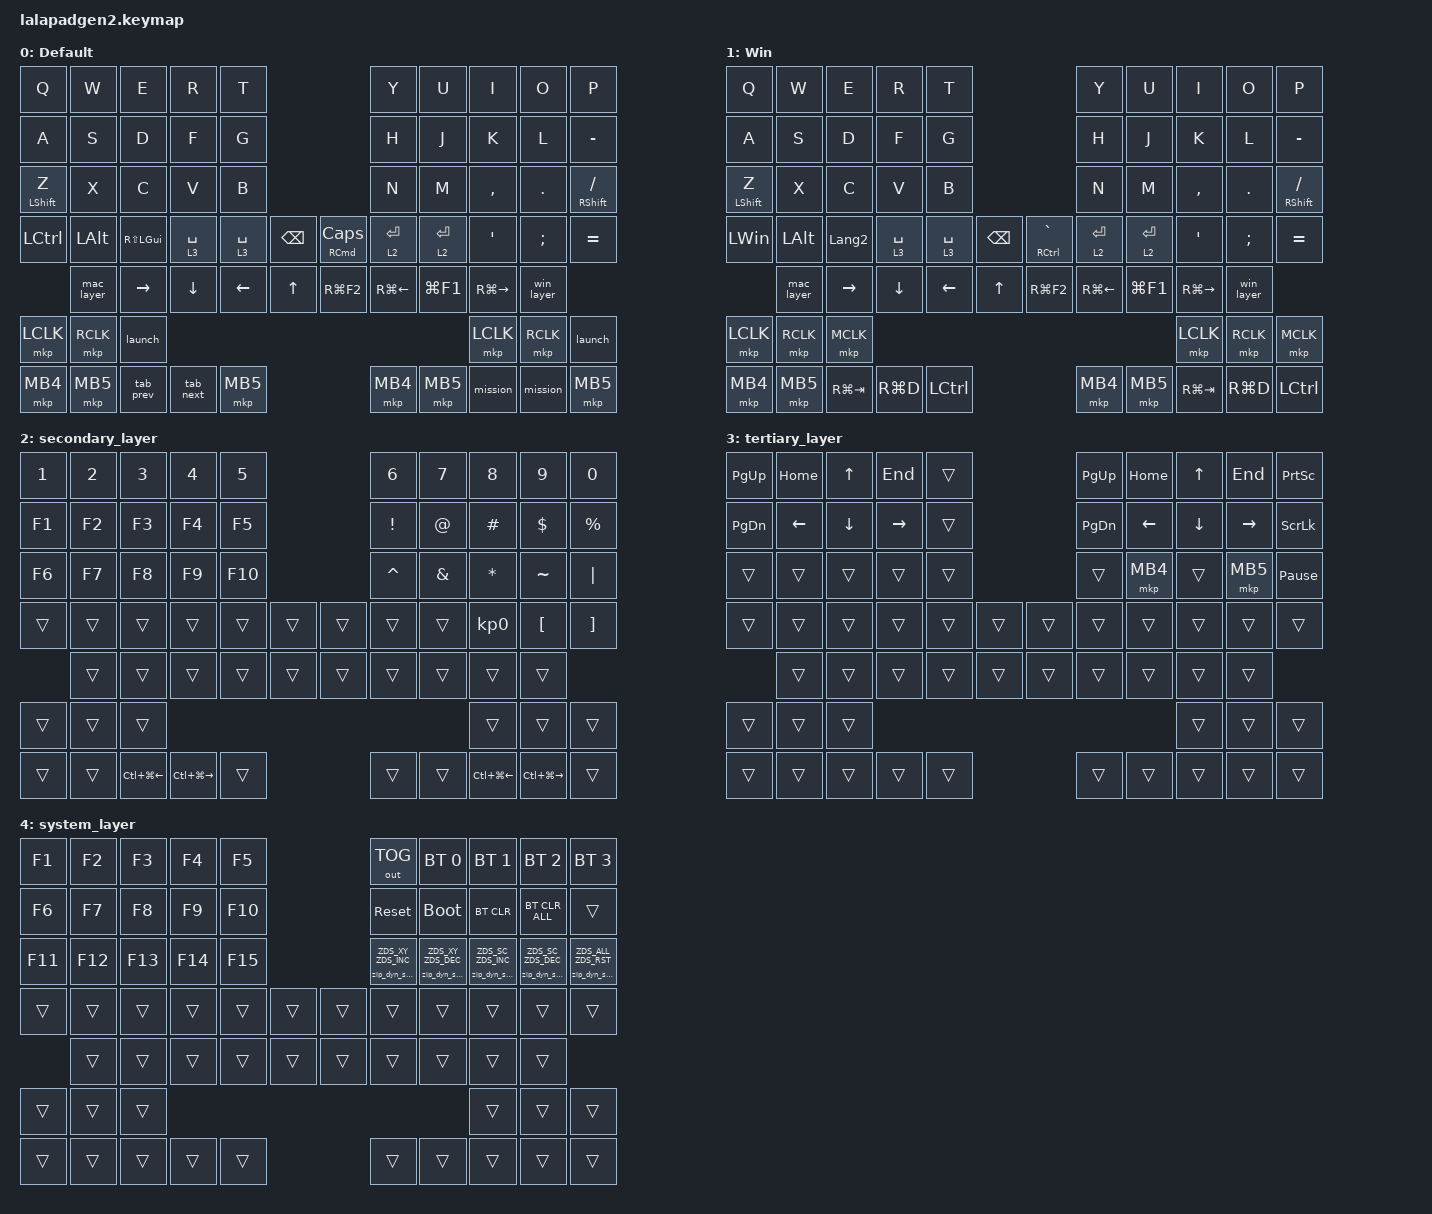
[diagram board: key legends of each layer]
#include <input/processors.dtsi>
#include <dt-bindings/zmk/zip_dynamic_scale.h>
#include <scroll-snap.dtsi>
#include <behaviors.dtsi>
#include <dt-bindings/zmk/bt.h>
#include <dt-bindings/zmk/keys.h>
#include <dt-bindings/zmk/outputs.h>
#include <dt-bindings/zmk/pointing.h>

#define DEFAULT_LAYER 0
#define SECONDARY_LAYER 1
#define TERTIARY_LAYER 2
#define SYSTEM_LAYER 3

&mt { quick-tap-ms = <200>; };

&lt { quick-tap-ms = <200>; };

/ {
    behaviors {
        zip_dyn_scale: zip_dyn_scale {
            compatible = "zmk,behavior-zip-dynamic-scale";
            #binding-cells = <2>;
        };

        zip_dyn_scale_set: zip_dyn_scale_set {
            compatible = "zmk,behavior-zip-dynamic-scale-set";
            #binding-cells = <2>;
        };

        mt2: mod_tap2 {
            compatible = "zmk,behavior-hold-tap";
            #binding-cells = <2>;
            flavor = "tap-preferred";
            tapping-term-ms = <200>;
            quick-tap-ms = <200>;
            require-prior-idle-ms = <125>;
            bindings = <&kp>, <&kp>;
        };

        tap_dance_layer_1and2: tap_dance_layer_1and2 {
            compatible = "zmk,behavior-tap-dance";
            label = "td_mo12";
            #binding-cells = <0>;
            bindings = <&mo 2>, <&mo 3>;
        };

        // ↓↓↓ 追加: behaviors ブロックに正しく配置 ↓↓↓

        lt_to_layer_0: lt_to_layer_0 {
            compatible = "zmk,behavior-hold-tap";
            label = "LAYER_TAP_TO_0";
            bindings = <&mo>, <&to_layer_0>;

            #binding-cells = <2>;
            tapping-term-ms = <200>;
        };

        scroll_up_down: behavior_sensor_rotate_mouse_wheel_up_down {
            compatible = "zmk,behavior-sensor-rotate";
            #sensor-binding-cells = <0>;
            bindings = <&msc SCRL_UP>, <&msc SCRL_DOWN>;

            tap-ms = <20>;
        };

        tog_on: toggle_layer_on_only {
            compatible = "zmk,behavior-toggle-layer";
            #binding-cells = <1>;
            display-name = "Toggle Layer On";
            toggle-mode = "on";
        };

        tog_off: toggle_layer_off_only {
            compatible = "zmk,behavior-toggle-layer";
            #binding-cells = <1>;
            display-name = "Toggle Layer Off";
            toggle-mode = "off";
        };

        // ↑↑↑ 追加ここまで ↑↑↑
    };

    combos {
        compatible = "zmk,combos";

        CONBO_ESC {
            bindings = <&kp ESCAPE>;
            key-positions = <0 1>;
        };

        COMBO_TAB {
            bindings = <&kp TAB>;
            key-positions = <10 11>;
        };

        left_p {
            bindings = <&kp LEFT_PARENTHESIS>;
            key-positions = <12 13>;
        };

        right_p {
            bindings = <&kp RIGHT_PARENTHESIS>;
            key-positions = <13 14>;
        };

        l_d {
            bindings = <&kp LA(LC(D))>;
            key-positions = <20 21>;
        };

        c_d {
            bindings = <&kp LA(LC(F))>;
            key-positions = <21 22>;
        };

        r_d {
            bindings = <&kp LA(LC(G))>;
            key-positions = <22 23>;
        };

        f_d {
            bindings = <&kp LA(LC(ENTER))>;
            key-positions = <30 31>;
        };

        cap_1 {
            bindings = <&kp LS(LG(NUMBER_4))>;
            key-positions = <40 41>;
        };

        cap_f {
            bindings = <&kp LS(LG(NUMBER_3))>;
            key-positions = <39 40>;
        };

        system {
            bindings = <&tog 4>;
            key-positions = <41 40 39>;
        };

        re_system {
            bindings = <&tog 0>;
            key-positions = <30 31 32>;
        };

        r_d2 {
            bindings = <&kp LA(LC(T))>;
            key-positions = <31 32>;
        };
    };

    macros {
        mission: mission {
            compatible = "zmk,behavior-macro";
            #binding-cells = <0>;
            bindings = <&kp LC(UP)>;
            label = "MISSION";
        };

        launch: launch {
            compatible = "zmk,behavior-macro";
            #binding-cells = <0>;
            bindings = <&kp RG(L)>;
            label = "LAUNCH";
        };

        tab_next: tab_next {
            compatible = "zmk,behavior-macro";
            #binding-cells = <0>;
            bindings = <&kp LC(TAB)>;
            label = "TAB_NEXT";
        };

        tab_prev: tab_prev {
            compatible = "zmk,behavior-macro";
            #binding-cells = <0>;
            bindings = <&kp LS(LC(TAB))>;
            label = "TAB_PREV";
        };

        win_layer: win_ly {
            compatible = "zmk,behavior-macro";
            #binding-cells = <0>;
            bindings = <&bt BT_SEL 1>, <&macro_wait_time 200>, <&to 1>;

            label = "WIN_LY";
        };

        mac_layer: mac_layer {
            compatible = "zmk,behavior-macro";
            #binding-cells = <0>;
            bindings = <&bt BT_SEL 0>, <&macro_wait_time 200>, <&to 0>;

            label = "MAC_LAYER";
        };

        // ↓↓↓ 追加: lt_to_layer_0 が参照する to_layer_0 の実体 ↓↓↓

        to_layer_0: to_layer_0 {
            compatible = "zmk,behavior-macro";
            #binding-cells = <0>;
            bindings = <&to 0>;
            label = "TO_LAYER_0";
        };

        kakko: kakko {
            compatible = "zmk,behavior-macro";
            #binding-cells = <0>;
            bindings = <&kp LEFT_PARENTHESIS &kp RIGHT_PARENTHESIS &kp LEFT>;
            label = "KAKKO";
        };

        daikakko: daikakko {
            compatible = "zmk,behavior-macro";
            #binding-cells = <0>;
            bindings = <&kp LEFT_BRACKET &kp RIGHT_BRACKET &kp LEFT>;
            label = "DAIKAKKO";
        };

        nami_kakko: nami_kakko {
            compatible = "zmk,behavior-macro";
            #binding-cells = <0>;
            bindings = <&kp LEFT_BRACE &kp RIGHT_BRACE &kp LEFT>;
            label = "NAMI_KAKKO";
        };

        // ↑↑↑ 追加ここまで ↑↑↑
    };

    keymap {
        compatible = "zmk,keymap";

        MAC_LAYER {
            display-name = "Default";
            bindings = <
&kp Q              &kp W       &kp E             &kp R        &kp T                                               &kp Y         &kp U        &kp I             &kp O       &kp P
&kp A              &kp S       &kp D             &kp F        &kp G                                               &kp H         &kp J        &kp K             &kp L       &kp MINUS
&mt2 LEFT_SHIFT Z  &kp X       &kp C             &kp V        &kp B                                               &kp N         &kp M        &kp COMMA         &kp PERIOD  &mt RIGHT_SHIFT SLASH
&kp LCTRL          &kp LALT    &kp RS(LEFT_GUI)  &lt 3 SPACE  &lt 3 SPACE  &kp BACKSPACE  &mt RIGHT_COMMAND CAPS  &lt 2 ENTER   &lt 2 ENTER  &kp SINGLE_QUOTE  &kp SEMI    &kp EQUAL
                   &mac_layer  &kp RIGHT         &kp DOWN     &kp LEFT     &kp UP         &kp RG(F2)              &kp RG(LEFT)  &kp LG(F1)   &kp RG(RIGHT)     &win_layer
&mkp LCLK          &mkp RCLK   &launch                                                                                                       &mkp LCLK         &mkp RCLK   &launch
&mkp MB4           &mkp MB5    &tab_prev         &tab_next    &mkp MB5                                            &mkp MB4      &mkp MB5     &mission          &mission    &mkp MB5
            >;
        };

        WIN_LAYER {
            display-name = "Win";
            bindings = <
&kp Q              &kp W       &kp E           &kp R        &kp T                                        &kp Y         &kp U        &kp I             &kp O       &kp P
&kp A              &kp S       &kp D           &kp F        &kp G                                        &kp H         &kp J        &kp K             &kp L       &kp MINUS
&mt2 LEFT_SHIFT Z  &kp X       &kp C           &kp V        &kp B                                        &kp N         &kp M        &kp COMMA         &kp PERIOD  &mt RIGHT_SHIFT SLASH
&kp LEFT_WIN       &kp LALT    &kp LANGUAGE_2  &lt 3 SPACE  &lt 3 SPACE  &kp BACKSPACE  &mt RCTRL GRAVE  &lt 2 ENTER   &lt 2 ENTER  &kp SINGLE_QUOTE  &kp SEMI    &kp EQUAL
                   &mac_layer  &kp RIGHT       &kp DOWN     &kp LEFT     &kp UP         &kp RG(F2)       &kp RG(LEFT)  &kp LG(F1)   &kp RG(RIGHT)     &win_layer
&mkp LCLK          &mkp RCLK   &mkp MCLK                                                                                            &mkp LCLK         &mkp RCLK   &mkp MCLK
&mkp MB4           &mkp MB5    &kp RG(TAB)     &kp RG(D)    &kp LCTRL                                    &mkp MB4      &mkp MB5     &kp RG(TAB)       &kp RG(D)   &kp LCTRL
            >;
        };

        SECONDARY_LAYER {
            display-name = "secondary_layer";
            bindings = <
&kp NUMBER_1  &kp NUMBER_2  &kp NUMBER_3      &kp NUMBER_4       &kp N5                   &kp NUMBER_6     &kp NUMBER_7   &kp NUMBER_8      &kp NUMBER_9       &kp NUMBER_0
&kp F1        &kp F2        &kp F3            &kp F4             &kp F5                   &kp EXCLAMATION  &kp AT_SIGN    &kp HASH          &kp DOLLAR         &kp PERCENT
&kp F6        &kp F7        &kp F8            &kp F9             &kp F10                  &kp CARET        &kp AMPERSAND  &kp ASTRK         &kp TILDE          &kp PIPE
&trans        &trans        &trans            &trans             &trans   &trans  &trans  &trans           &trans         &kp KP_NUMBER_0   &kp LEFT_BRACKET   &kp RIGHT_BRACKET
              &trans        &trans            &trans             &trans   &trans  &trans  &trans           &trans         &trans            &trans
&trans        &trans        &trans                                                                                        &trans            &trans             &trans
&trans        &trans        &kp LC(LG(LEFT))  &kp LC(LG(RIGHT))  &trans                   &trans           &trans         &kp LC(LG(LEFT))  &kp LC(LG(RIGHT))  &trans
            >;
        };

        TERTIARY_LAYER {
            display-name = "tertiary_layer";
            bindings = <
&kp PAGE_UP    &kp HOME  &kp UP_ARROW  &kp END    &trans                  &kp PAGE_UP    &kp HOME  &kp UP_ARROW    &kp END    &kp PRINTSCREEN
&kp PAGE_DOWN  &kp LEFT  &kp DOWN      &kp RIGHT  &trans                  &kp PAGE_DOWN  &kp LEFT  &kp DOWN_ARROW  &kp RIGHT  &kp SCROLLLOCK
&trans         &trans    &trans        &trans     &trans                  &trans         &mkp MB4  &trans          &mkp MB5   &kp PAUSE_BREAK
&trans         &trans    &trans        &trans     &trans  &trans  &trans  &trans         &trans    &trans          &trans     &trans
               &trans    &trans        &trans     &trans  &trans  &trans  &trans         &trans    &trans          &trans
&trans         &trans    &trans                                                                    &trans          &trans     &trans
&trans         &trans    &trans        &trans     &trans                  &trans         &trans    &trans          &trans     &trans
            >;
        };

        SYSTEM_LAYER {
            display-name = "system_layer";
            bindings = <
&kp F1   &kp F2   &kp F3   &kp F4   &kp F5                   &out OUT_TOG                   &bt BT_SEL 0                   &bt BT_SEL 1                   &bt BT_SEL 2                   &bt BT_SEL 3
&kp F6   &kp F7   &kp F8   &kp F9   &kp F10                  &sys_reset                     &bootloader                    &bt BT_CLR                     &bt BT_CLR_ALL                 &trans
&kp F11  &kp F12  &kp F13  &kp F14  &kp F15                  &zip_dyn_scale ZDS_XY ZDS_INC  &zip_dyn_scale ZDS_XY ZDS_DEC  &zip_dyn_scale ZDS_SC ZDS_INC  &zip_dyn_scale ZDS_SC ZDS_DEC  &zip_dyn_scale ZDS_ALL ZDS_RST
&trans   &trans   &trans   &trans   &trans   &trans  &trans  &trans                         &trans                         &trans                         &trans                         &trans
         &trans   &trans   &trans   &trans   &trans  &trans  &trans                         &trans                         &trans                         &trans
&trans   &trans   &trans                                                                                                   &trans                         &trans                         &trans
&trans   &trans   &trans   &trans   &trans                   &trans                         &trans                         &trans                         &trans                         &trans
            >;
        };
    };

    conditional_layers {
        compatible = "zmk,conditional-layers";

        Cond_Syslayer {
            if-layers = <2 3>;
            then-layer = <4>;
        };
    };
};
